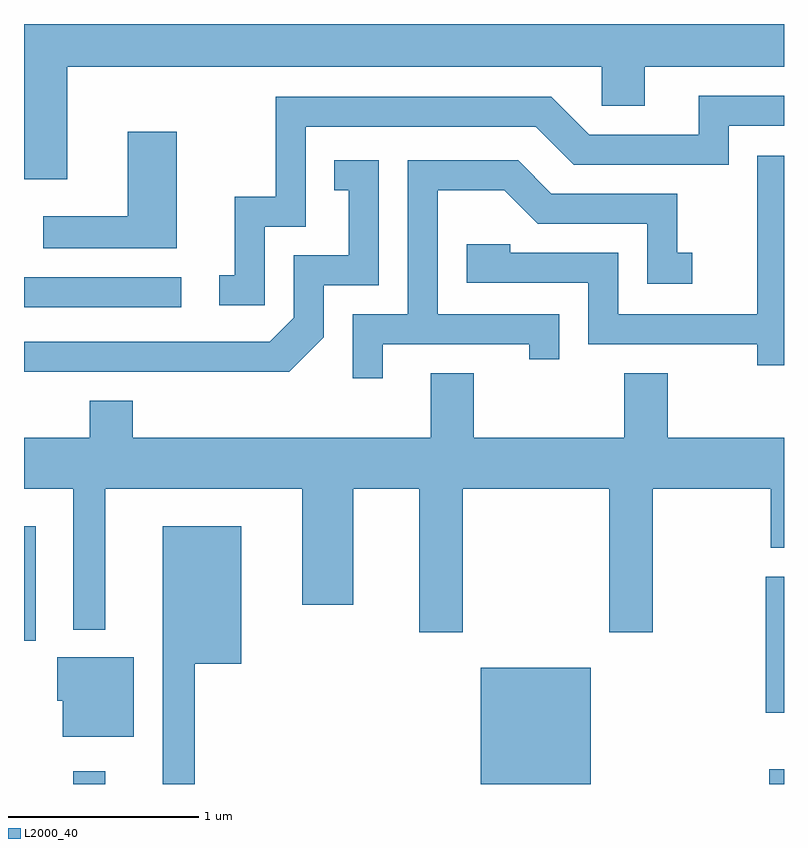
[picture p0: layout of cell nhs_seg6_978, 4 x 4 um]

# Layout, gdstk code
import gdstk
lib = gdstk.Library(unit=1e-6, precision=1e-09)
def R(c, l, rs):  # rectangles x0, y0, x1, y1
    for r in rs: c.add(gdstk.rectangle(r[:2], r[2:], *l))
def P(c, l, *ps):  # polygons
    for p in ps: c.add(gdstk.Polygon(p, *l))
L2000_40 = (2000, 40)

nhs_seg6_978 = lib.new_cell('nhs_seg6_978')
R(nhs_seg6_978, L2000_40, [(213.871,1646.162,214.039,1646.228), (216.016,1646.162,216.594,1646.774), (217.533,1646.162,217.611,1646.239), (217.516,1646.536,217.611,1647.254), (213.611,1646.916,213.674,1647.519), (213.611,1648.671,214.438,1648.829)])
P(nhs_seg6_978, L2000_40, [(213.839,1649.936),(216.651,1649.936),(216.651,1649.731),(216.879,1649.731),(216.879,1649.936),(217.611,1649.936),(217.611,1650.162),(213.611,1650.162),(213.611,1649.346),(213.839,1649.346)],
  [(214.879,1649.096),(215.094,1649.096),(215.094,1649.621),(216.304,1649.621),(216.504,1649.421),(217.319,1649.421),(217.319,1649.626),(217.611,1649.626),(217.611,1649.784),(217.161,1649.784),(217.161,1649.579),(216.587,1649.579),(216.387,1649.779),(214.936,1649.779),(214.936,1649.254),(214.721,1649.254),(214.721,1648.839),(214.638,1648.839),(214.638,1648.681),(214.879,1648.681)],
  [(214.414,1649.594),(214.156,1649.594),(214.156,1649.149),(213.713,1649.149),(213.713,1648.981),(214.414,1648.981)],
  [(217.611,1649.469),(217.471,1649.469),(217.471,1648.634),(216.739,1648.634),(216.739,1648.959),(216.169,1648.959),(216.169,1649.004),(215.941,1649.004),(215.941,1648.801),(216.581,1648.801),(216.581,1648.476),(217.471,1648.476),(217.471,1648.366),(217.611,1648.366)],
  [(215.499,1648.476),(216.271,1648.476),(216.271,1648.398),(216.429,1648.398),(216.429,1648.634),(215.789,1648.634),(215.789,1649.286),(216.139,1649.286),(216.314,1649.111),(216.891,1649.111),(216.891,1648.796),(217.128,1648.796),(217.128,1648.959),(217.049,1648.959),(217.049,1649.269),(216.387,1649.269),(216.212,1649.444),(215.631,1649.444),(215.631,1648.634),(215.341,1648.634),(215.341,1648.298),(215.499,1648.298)],
  [(215.189,1648.514),(215.189,1648.786),(215.479,1648.786),(215.479,1649.444),(215.243,1649.444),(215.243,1649.286),(215.321,1649.286),(215.321,1648.944),(215.031,1648.944),(215.031,1648.617),(214.904,1648.489),(213.611,1648.489),(213.611,1648.331),(215.007,1648.331)],
  [(215.919,1647.716),(216.691,1647.716),(216.691,1646.961),(216.919,1646.961),(216.919,1647.716),(217.541,1647.716),(217.541,1647.406),(217.611,1647.406),(217.611,1647.984),(216.999,1647.984),(216.999,1648.324),(216.771,1648.324),(216.771,1647.984),(215.979,1647.984),(215.979,1648.324),(215.751,1648.324),(215.751,1647.984),(214.184,1647.984),(214.184,1648.179),(213.956,1648.179),(213.956,1647.984),(213.611,1647.984),(213.611,1647.716),(213.871,1647.716),(213.871,1646.973),(214.039,1646.973),(214.039,1647.716),(215.076,1647.716),(215.076,1647.106),(215.344,1647.106),(215.344,1647.716),(215.691,1647.716),(215.691,1646.961),(215.919,1646.961)],
  [(214.509,1646.796),(214.754,1646.796),(214.754,1647.519),(214.341,1647.519),(214.341,1646.162),(214.509,1646.162)],
  [(214.189,1646.829),(213.786,1646.829),(213.786,1646.601),(213.816,1646.601),(213.816,1646.411),(214.189,1646.411)])

lib.write_gds('nhs_seg6_978.gds')
